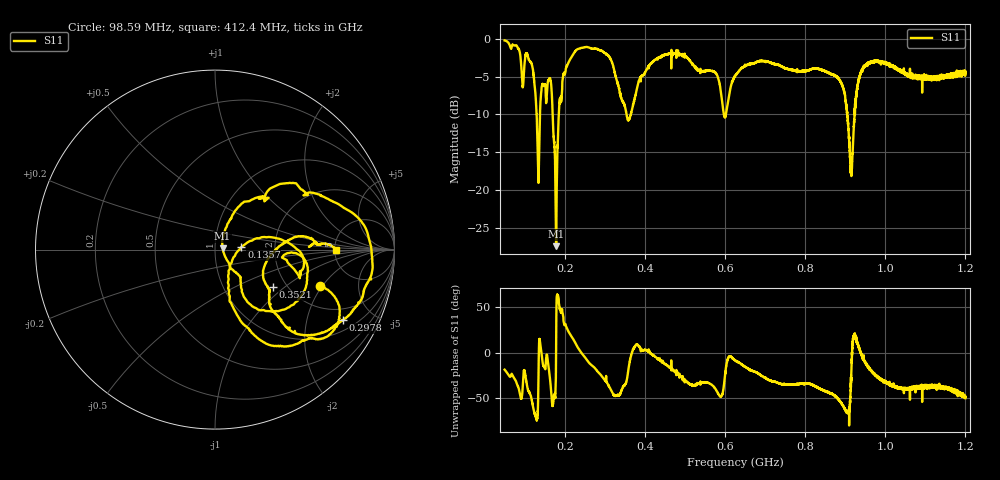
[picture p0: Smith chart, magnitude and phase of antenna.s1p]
! Calibrated high-resolution NanoVNA antenna measurement
# Hz S RI R 50
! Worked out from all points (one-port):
!   40001 points, 50 MHz to 1.2 GHz, reference 50 ohm
!   lowest |S11| = -27.4 dB at 178.6 MHz (marker M1), VSWR 1.09, Z = 54.4 + j0.685 ohm
!   |S11| at or under -10 dB: 170 MHz to 185.1 MHz (15.18 MHz wide, 8.55 % of centre); 354.4 MHz to 364.8 MHz (10.35 MHz wide, 2.88 % of centre); 905.3 MHz to 923.4 MHz (18.13 MHz wide, 1.98 % of centre)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
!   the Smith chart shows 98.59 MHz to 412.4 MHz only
!   S11 on the Smith chart (normalised r, x): 98.59 MHz: 2.89, -1.93; 135.7 MHz: 1.35, +0.04; 297.8 MHz: 1.44, -3.33; 352.1 MHz: 1.70, -0.84; 412.4 MHz: 5.15, +0.02
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5e7  0.9251 -0.3109
8.5995e7  0.6429 -0.5528
9.85875e7  0.587 -0.2048
1.054875e8  0.6576 -0.4555
1.200062e8  0.3479 -0.539
1.35675e8  0.1476 0.0157
1.445588e8  0.4965 -0.0816
1.623262e8  0.499 -0.2288
1.69945e8  0.1661 -0.2699
1.7857e8  0.0421 0.00628
1.9375e8  0.3135 0.3455
2.343162e8  0.8557 0.0683
2.97825e8  0.7135 -0.3908
3.375e8  0.307 -0.316
3.520762e8  0.3237 -0.2093
3.783538e8  0.4387 0.0674
4.123938e8  0.6751 0.00102
4.8125e8  0.7332 -0.3159
5.759812e8  0.461 -0.382
5.951862e8  0.2559 -0.2315
6.25e8  0.5611 -0.0819
7.6875e8  0.5122 -0.3541
8.849e8  0.3316 -0.426
9.125e8  0.0993 -0.1151
9.265875e8  0.3942 0.1144
9.513125e8  0.6575 -0.1365
1.05625e9  0.4442 -0.3717
1.2e9  0.4214 -0.4669
